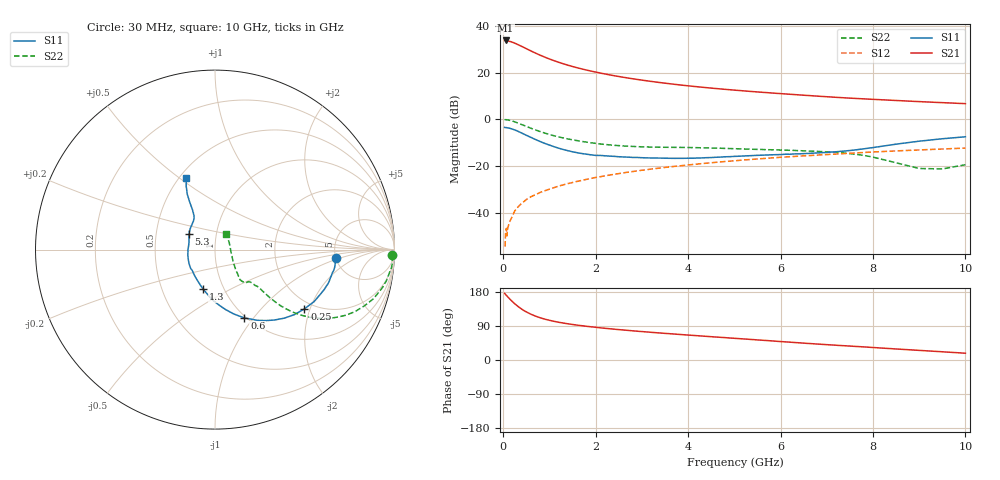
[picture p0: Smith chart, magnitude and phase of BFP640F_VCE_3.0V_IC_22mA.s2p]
! Infineon Technologies  Discrete & RF Semiconductors
! BFP640F
! VCE =  3.0 V,  IC =  22 mA
! Common Emitter S-Parameters:  Apr 2013
# GHz  S  MA  R  50
!  f  S11  S21  S12  S22
! GHz  MAG  ANG  MAG  ANG  MAG  ANG  MAG  ANG
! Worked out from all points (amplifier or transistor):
!   99 points, 30 MHz to 10 GHz, reference 50 ohm
!   highest |S21| = 33.7 dB at 50 MHz (marker M1)
!   |S21| within 3 dB of that: start of sweep to 449.2 MHz
!   unconditionally stable (mu >= 1): 2.147 GHz to end of sweep
!   at 350 MHz: K = 0.38, MSG = 34.1 dB, |S12| = -36.7 dB
!   at 3.5 GHz: K = 1.05, MAG = 16.5 dB, |S12| = -20.4 dB
!   at 10 GHz: K = 1.05, MAG = 8.1 dB, |S12| = -12.2 dB
!   S11 on the Smith chart (normalised r, x): 30 MHz: 5.05, -0.88; 250 MHz: 1.78, -1.83; 600 MHz: 0.98, -0.90; 1.3 GHz: 0.80, -0.37; 5.3 GHz: 0.74, +0.13; 10 GHz: 0.54, +0.53
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0.03  0.6777 -4.0  47.91 175.8  0.002 86.2  0.9881 -1.9
0.05  0.6741 -7.4  48.25 173.2  0.0036 62.1  0.9909 -4.2
0.09  0.6645 -12.6  47.41 167.6  0.0042 82.1  0.98 -7.7
0.15  0.6445 -21.0  45.87 160.0  0.007 82.6  0.9537 -13.2
0.2  0.624 -27.6  44.12 154.0  0.0088 79.6  0.9245 -17.2
0.25  0.5975 -33.6  42.23 148.4  0.0113 81.4  0.8897 -20.6
0.3  0.5713 -39.4  40.15 143.3  0.013 74.5  0.8529 -23.9
0.4  0.5136 -49.8  36.09 134.2  0.0164 73.9  0.7787 -28.9
0.5  0.4609 -58.8  32.25 126.9  0.0197 71.3  0.7115 -32.7
0.6  0.4149 -66.7  28.83 120.8  0.0226 70.6  0.6504 -35.5
0.7  0.3739 -73.7  25.91 115.7  0.0251 69.4  0.5976 -37.5
0.9  0.3089 -86.1  21.28 107.8  0.0303 69.0  0.5131 -39.9
1.1  0.2631 -96.9  17.89 102.0  0.0354 68.4  0.4499 -40.9
1.3  0.229 -106.8  15.36 97.5  0.0405 68.0  0.4035 -41.2
1.7  0.1882 -125.3  11.95 90.5  0.0504 67.2  0.3407 -40.9
2.4  0.1638 -152.4  8.568 81.4  0.0678 65.2  0.2819 -42.0
3.4  0.1505 180.0  6.102 71.2  0.0926 61.1  0.2563 -44.8
5.1  0.1649 151.3  4.146 56.4  0.1344 53.0  0.237 -49.1
5.3  0.1685 148.9  3.998 54.8  0.1392 51.9  0.2334 -49.4
6.7  0.1915 131.4  3.191 42.9  0.1721 44.2  0.2108 -49.9
8.5  0.298 118.1  2.539 29.1  0.214 34.2  0.1195 -32.7
10  0.428 111.9  2.176 17.9  0.2459 25.5  0.1087 54.7
